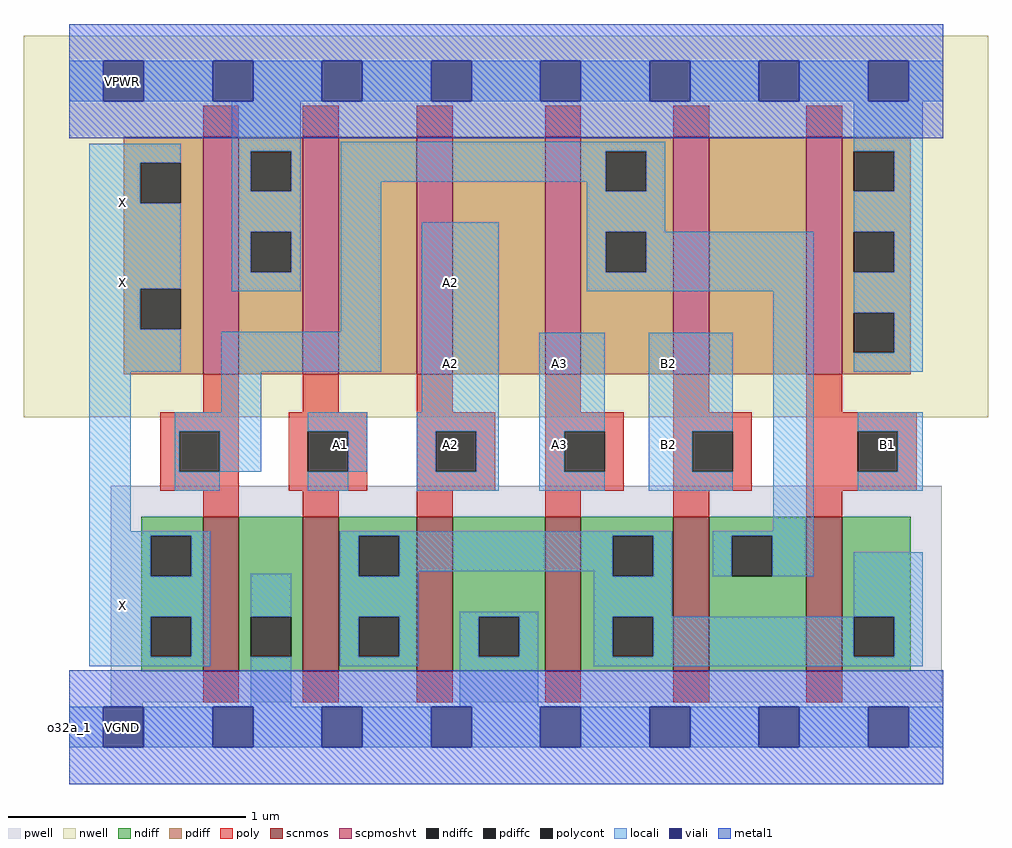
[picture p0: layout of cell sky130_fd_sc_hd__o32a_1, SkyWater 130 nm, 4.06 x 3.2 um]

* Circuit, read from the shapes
.subckt sky130_fd_sc_hd__o32a_1 VPWR VGND VPB VNB X A1 A2 A3 B2 B1
XM1 VGND n1 X VNB sky130_fd_pr__nfet_01v8 w=0.65 l=0.15
XM2 n2 A1 VGND VNB sky130_fd_pr__nfet_01v8 w=0.65 l=0.15
XM3 VGND A2 n2 VNB sky130_fd_pr__nfet_01v8 w=0.65 l=0.15
XM4 n2 A3 VGND VNB sky130_fd_pr__nfet_01v8 w=0.65 l=0.15
XM5 n1 B2 n2 VNB sky130_fd_pr__nfet_01v8 w=0.65 l=0.15
XM6 n2 B1 n1 VNB sky130_fd_pr__nfet_01v8 w=0.65 l=0.15
XM7 VPWR n1 X VPB sky130_fd_pr__pfet_01v8_hvt w=1 l=0.15
XM8 n3 A1 VPWR VPB sky130_fd_pr__pfet_01v8_hvt w=1 l=0.15
XM9 n4 A2 n3 VPB sky130_fd_pr__pfet_01v8_hvt w=1 l=0.15
XM10 n1 A3 n4 VPB sky130_fd_pr__pfet_01v8_hvt w=1 l=0.15
XM11 n5 B2 n1 VPB sky130_fd_pr__pfet_01v8_hvt w=1 l=0.15
XM12 VPWR B1 n5 VPB sky130_fd_pr__pfet_01v8_hvt w=1 l=0.15
.ends

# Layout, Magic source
magic
tech sky130B
magscale 1 2
<< nwell >>
rect -38 221 774 542
<< pwell >>
rect 35 -19 735 163
rect 35 -23 62 -19
rect 28 -57 62 -23
<< scnmos >>
rect 113 7 143 137
rect 197 7 227 137
rect 293 7 323 137
rect 401 7 431 137
rect 509 7 539 137
rect 621 7 651 137
<< scpmoshvt >>
rect 113 257 143 457
rect 197 257 227 457
rect 293 257 323 457
rect 401 257 431 457
rect 509 257 539 457
rect 621 257 651 457
<< ndiff >>
rect 61 121 113 137
rect 61 87 69 121
rect 103 87 113 121
rect 61 53 113 87
rect 61 19 69 53
rect 103 19 113 53
rect 61 7 113 19
rect 143 53 197 137
rect 143 19 153 53
rect 187 19 197 53
rect 143 7 197 19
rect 227 121 293 137
rect 227 87 244 121
rect 278 87 293 121
rect 227 53 293 87
rect 227 19 244 53
rect 278 19 293 53
rect 227 7 293 19
rect 323 53 401 137
rect 323 19 345 53
rect 379 19 401 53
rect 323 7 401 19
rect 431 121 509 137
rect 431 87 458 121
rect 492 87 509 121
rect 431 53 509 87
rect 431 19 458 53
rect 492 19 509 53
rect 431 7 509 19
rect 539 121 621 137
rect 539 87 558 121
rect 592 87 621 121
rect 539 7 621 87
rect 651 53 709 137
rect 651 19 661 53
rect 695 19 709 53
rect 651 7 709 19
<< pdiff >>
rect 46 435 113 457
rect 46 401 60 435
rect 94 401 113 435
rect 46 329 113 401
rect 46 295 60 329
rect 94 295 113 329
rect 46 257 113 295
rect 143 445 197 457
rect 143 411 153 445
rect 187 411 197 445
rect 143 377 197 411
rect 143 343 153 377
rect 187 343 197 377
rect 143 257 197 343
rect 227 257 293 457
rect 323 257 401 457
rect 431 445 509 457
rect 431 411 452 445
rect 486 411 509 445
rect 431 377 509 411
rect 431 343 452 377
rect 486 343 509 377
rect 431 257 509 343
rect 539 257 621 457
rect 651 445 709 457
rect 651 411 661 445
rect 695 411 709 445
rect 651 377 709 411
rect 651 343 661 377
rect 695 343 709 377
rect 651 309 709 343
rect 651 275 661 309
rect 695 275 709 309
rect 651 257 709 275
<< ndiffc >>
rect 69 87 103 121
rect 69 19 103 53
rect 153 19 187 53
rect 244 87 278 121
rect 244 19 278 53
rect 345 19 379 53
rect 458 87 492 121
rect 458 19 492 53
rect 558 87 592 121
rect 661 19 695 53
<< pdiffc >>
rect 60 401 94 435
rect 60 295 94 329
rect 153 411 187 445
rect 153 343 187 377
rect 452 411 486 445
rect 452 343 486 377
rect 661 411 695 445
rect 661 343 695 377
rect 661 275 695 309
<< poly >>
rect 113 457 143 483
rect 197 457 227 483
rect 293 457 323 483
rect 401 457 431 483
rect 509 457 539 483
rect 621 457 651 483
rect 113 225 143 257
rect 197 225 227 257
rect 293 225 323 257
rect 401 225 431 257
rect 509 225 539 257
rect 621 225 651 257
rect 77 209 143 225
rect 77 175 93 209
rect 127 175 143 209
rect 77 159 143 175
rect 185 209 251 225
rect 185 175 201 209
rect 235 175 251 209
rect 185 159 251 175
rect 293 209 359 225
rect 293 175 309 209
rect 343 175 359 209
rect 293 159 359 175
rect 401 209 467 225
rect 401 175 417 209
rect 451 175 467 209
rect 401 159 467 175
rect 509 209 575 225
rect 509 175 525 209
rect 559 175 575 209
rect 509 159 575 175
rect 621 209 714 225
rect 621 175 664 209
rect 698 175 714 209
rect 621 159 714 175
rect 113 137 143 159
rect 197 137 227 159
rect 293 137 323 159
rect 401 137 431 159
rect 509 137 539 159
rect 621 137 651 159
rect 113 -19 143 7
rect 197 -19 227 7
rect 293 -19 323 7
rect 401 -19 431 7
rect 509 -19 539 7
rect 621 -19 651 7
<< polycont >>
rect 93 175 127 209
rect 201 175 235 209
rect 309 175 343 209
rect 417 175 451 209
rect 525 175 559 209
rect 664 175 698 209
<< locali >>
rect 0 487 29 521
rect 63 487 121 521
rect 155 487 213 521
rect 247 487 305 521
rect 339 487 397 521
rect 431 487 489 521
rect 523 487 581 521
rect 615 487 673 521
rect 707 487 736 521
rect 17 435 94 451
rect 17 401 60 435
rect 17 329 94 401
rect 17 295 60 329
rect 137 445 195 487
rect 137 411 153 445
rect 187 411 195 445
rect 137 377 195 411
rect 137 343 153 377
rect 187 343 195 377
rect 137 327 195 343
rect 229 445 502 453
rect 229 419 452 445
rect 17 259 94 295
rect 229 293 263 419
rect 436 411 452 419
rect 486 411 502 445
rect 128 259 263 293
rect 17 125 52 259
rect 128 225 162 259
rect 297 225 362 385
rect 436 377 502 411
rect 661 445 719 487
rect 695 411 719 445
rect 661 377 719 411
rect 436 343 452 377
rect 486 343 627 377
rect 436 327 627 343
rect 89 209 162 225
rect 89 175 93 209
rect 127 175 162 209
rect 201 209 251 225
rect 235 175 251 209
rect 293 209 362 225
rect 293 175 309 209
rect 343 175 362 209
rect 89 159 127 175
rect 201 159 235 175
rect 293 159 362 175
rect 396 209 451 292
rect 396 175 417 209
rect 396 159 451 175
rect 488 209 559 292
rect 488 175 525 209
rect 488 159 559 175
rect 593 125 627 327
rect 695 343 719 377
rect 661 309 719 343
rect 695 275 719 309
rect 661 259 719 275
rect 664 209 719 225
rect 698 175 719 209
rect 664 159 719 175
rect 17 121 119 125
rect 17 87 69 121
rect 103 87 119 121
rect 228 121 508 125
rect 17 53 119 87
rect 17 19 69 53
rect 103 19 119 53
rect 17 11 119 19
rect 153 53 187 89
rect 153 -23 187 19
rect 228 87 244 121
rect 278 91 458 121
rect 278 87 294 91
rect 228 53 294 87
rect 442 87 458 91
rect 492 87 508 121
rect 542 121 627 125
rect 542 87 558 121
rect 592 87 627 121
rect 228 19 244 53
rect 278 19 294 53
rect 228 11 294 19
rect 329 53 395 57
rect 329 19 345 53
rect 379 19 395 53
rect 329 -23 395 19
rect 442 53 508 87
rect 661 53 719 107
rect 442 19 458 53
rect 492 19 661 53
rect 695 19 719 53
rect 442 11 719 19
rect 0 -57 29 -23
rect 63 -57 121 -23
rect 155 -57 213 -23
rect 247 -57 305 -23
rect 339 -57 397 -23
rect 431 -57 489 -23
rect 523 -57 581 -23
rect 615 -57 673 -23
rect 707 -57 736 -23
<< viali >>
rect 29 487 63 521
rect 121 487 155 521
rect 213 487 247 521
rect 305 487 339 521
rect 397 487 431 521
rect 489 487 523 521
rect 581 487 615 521
rect 673 487 707 521
rect 29 -57 63 -23
rect 121 -57 155 -23
rect 213 -57 247 -23
rect 305 -57 339 -23
rect 397 -57 431 -23
rect 489 -57 523 -23
rect 581 -57 615 -23
rect 673 -57 707 -23
<< metal1 >>
rect 0 521 736 552
rect 0 487 29 521
rect 63 487 121 521
rect 155 487 213 521
rect 247 487 305 521
rect 339 487 397 521
rect 431 487 489 521
rect 523 487 581 521
rect 615 487 673 521
rect 707 487 736 521
rect 0 456 736 487
rect 0 -23 736 8
rect 0 -57 29 -23
rect 63 -57 121 -23
rect 155 -57 213 -23
rect 247 -57 305 -23
rect 339 -57 397 -23
rect 431 -57 489 -23
rect 523 -57 581 -23
rect 615 -57 673 -23
rect 707 -57 736 -23
rect 0 -88 736 -57
<< labels >>
rlabel comment s 0 -40 0 -40 4 o32a_1
flabel metal1 s 28 487 62 521 0 FreeSans 200 0 0 0 VPWR
port 2 nsew
flabel metal1 s 28 -57 62 -23 0 FreeSans 200 0 0 0 VGND
port 3 nsew
flabel nwell s 28 487 62 521 0 FreeSans 200 0 0 0 VPB
port 5 nsew
flabel pwell s 28 -57 62 -23 0 FreeSans 200 0 0 0 VNB
port 6 nsew
flabel locali s 28 45 62 79 0 FreeSans 250 0 0 0 X
port 7 nsew
flabel locali s 28 385 62 419 0 FreeSans 250 0 0 0 X
port 7 nsew
flabel locali s 396 249 430 283 0 FreeSans 250 0 0 0 A3
port 10 nsew
flabel locali s 212 181 246 215 0 FreeSans 250 0 0 0 A1
port 8 nsew
flabel locali s 304 181 338 215 0 FreeSans 250 0 0 0 A2
port 9 nsew
flabel locali s 396 181 430 215 0 FreeSans 250 0 0 0 A3
port 10 nsew
flabel locali s 672 181 706 215 0 FreeSans 250 0 0 0 B1
port 12 nsew
flabel locali s 488 181 522 215 0 FreeSans 250 0 0 0 B2
port 11 nsew
flabel locali s 304 249 338 283 0 FreeSans 250 0 0 0 A2
port 9 nsew
flabel locali s 304 317 338 351 0 FreeSans 250 0 0 0 A2
port 9 nsew
flabel locali s 488 249 522 283 0 FreeSans 250 0 0 0 B2
port 11 nsew
flabel locali s 28 317 62 351 0 FreeSans 250 0 0 0 X
port 7 nsew
<< properties >>
string FIXED_BBOX 0 -40 736 504
string path 0.000 -1.000 18.400 -1.000 
<< end >>
